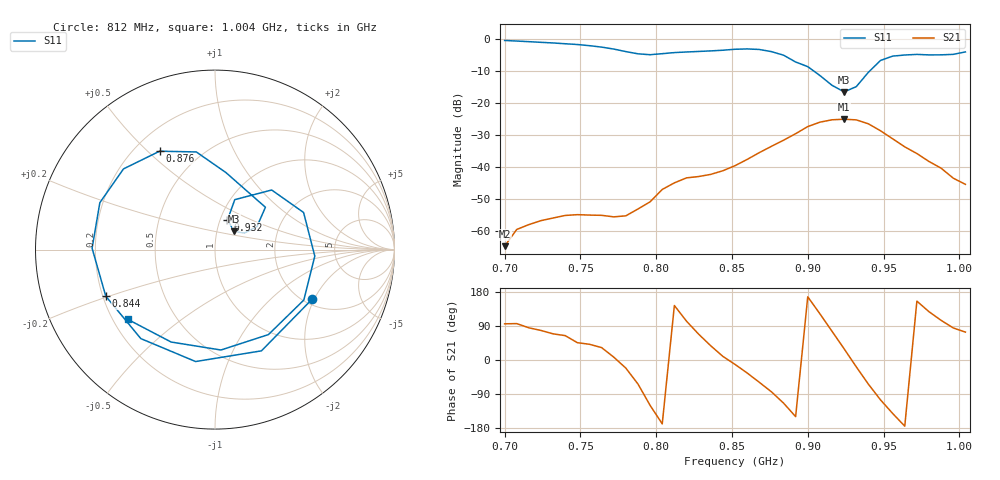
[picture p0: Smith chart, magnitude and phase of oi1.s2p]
# Hz S RI R 50
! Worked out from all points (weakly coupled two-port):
!   39 points, 700 MHz to 1.004 GHz, reference 50 ohm
!   highest |S21| = -25.11 dB at 924 MHz (marker M1); lowest = -64.7 dB at 700 MHz (marker M2)
!   lowest |S11| = -16.6 dB at 924 MHz (marker M3), VSWR 1.35, Z = 60.6 + j12.6 ohm
!   |S11| at or under -10 dB: 903.7 MHz to 941 MHz (37.29 MHz wide, 4.04 % of centre)
!   S12 and S22 are empty: the file has one direction only
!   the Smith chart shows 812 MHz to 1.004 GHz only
!   S11 on the Smith chart (normalised r, x): 812 MHz: 2.20, -1.93; 844 MHz: 0.21, -0.20; 876 MHz: 0.30, +0.54; 932 MHz: 1.08, +0.37; 1.004 GHz: 0.26, -0.33
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7e8  0.7603 0.5513  -5.54e-05 0.00058  0 0  0 0
7.24e8  0.8418 -0.2483  0.000304 0.00143  0 0  0 0
7.4e8  0.455 -0.6991  0.000761 0.00158  0 0  0 0
7.56e8  -0.189 -0.7557  0.00133 0.00118  0 0  0 0
7.72e8  -0.6588 -0.2047  0.00165 0.00022  0 0  0 0
7.8e8  -0.5902 0.219  0.00161 -0.000635  0 0  0 0
7.88e8  -0.2453 0.5272  0.000989 -0.00198  0 0  0 0
7.96e8  0.2336 0.5123  -0.00142 -0.00249  0 0  0 0
8.04e8  0.5601 0.1663  -0.00437 -0.000886  0 0  0 0
8.12e8  0.5412 -0.2762  -0.00456 0.00334  0 0  0 0
8.28e8  -0.1081 -0.6237  0.00263 0.00659  0 0  0 0
8.44e8  -0.6085 -0.2595  0.00862 0.00145  0 0  0 0
8.52e8  -0.6847 0.00729  0.0103 -0.0021  0 0  0 0
8.76e8  -0.3087 0.5482  0.00225 -0.0208  0 0  0 0
9e8  0.281 0.236  -0.0415 0.00974  0 0  0 0
9.08e8  0.234 0.1286  -0.0265 0.0424  0 0  0 0
9.24e8  0.1079 0.1018  0.0483 0.0274  0 0  0 0
9.32e8  0.0696 0.1647  0.0516 -0.0168  0 0  0 0
9.48e8  0.3159 0.332  -0.00962 -0.0354  0 0  0 0
9.56e8  0.4936 0.2068  -0.0214 -0.0173  0 0  0 0
9.8e8  0.2978 -0.4734  -0.0074 0.00967  0 0  0 0
1.004e9  -0.4868 -0.3882  0.00151 0.00514  0 0  0 0
